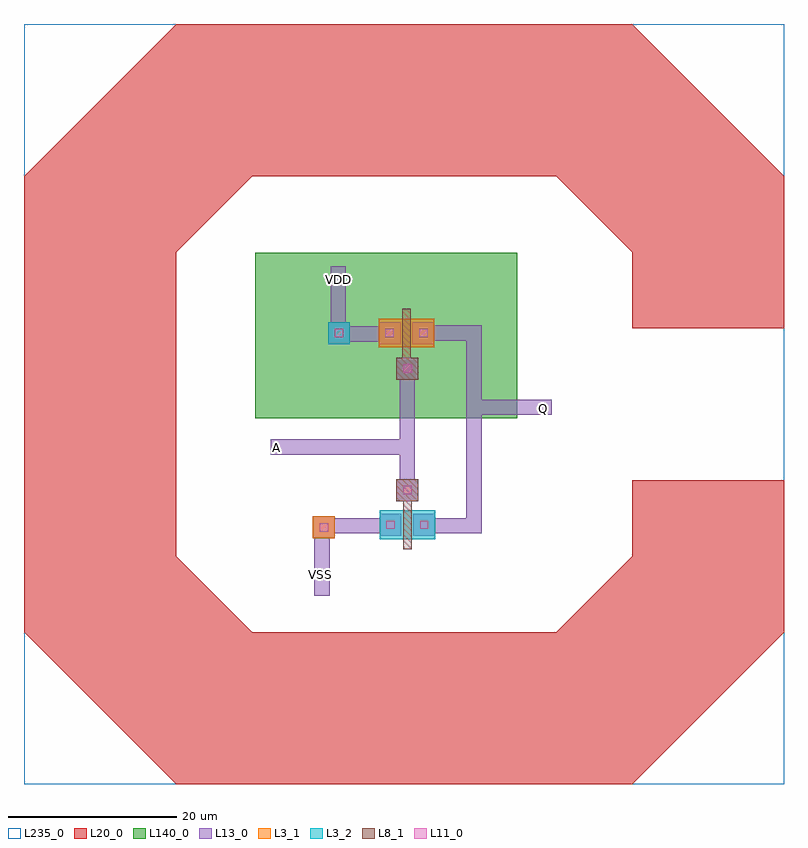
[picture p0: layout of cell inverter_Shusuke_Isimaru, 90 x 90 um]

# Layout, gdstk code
from math import pi, radians
import gdstk
lib = gdstk.Library(unit=1e-6, precision=1e-07)
def R(c, l, rs):  # rectangles x0, y0, x1, y1
    for r in rs: c.add(gdstk.rectangle(r[:2], r[2:], *l))
def P(c, l, *ps):  # polygons
    for p in ps: c.add(gdstk.Polygon(p, *l))
L3_1 = (3, 1)
L3_2 = (3, 2)
L8_1 = (8, 1)
L11_0 = (11, 0)
L13_0 = (13, 0)
L20_0 = (20, 0)
L140_0 = (140, 0)
L235_0 = (235, 0)

fet_p = lib.new_cell('fet_p')
R(fet_p, L3_1, [(-3.3,-1.7,3.3,1.7)])
R(fet_p, L11_0, [(-2.5,-0.5,-1.5,0.5), (1.5,-0.5,2.5,0.5)])
R(fet_p, L13_0, [(-3.3,-1.3,-0.7,1.3), (0.7,-1.3,3.3,1.3)])
fet_p.add(gdstk.FlexPath([(0,-2.9),(0,2.9)], 1, ends="flush", simple_path=True, layer=8, datatype=1))  # L8_1

cont_n = lib.new_cell('cont_n')
R(cont_n, L3_2, [(-1.3,-1.3,1.3,1.3)])
R(cont_n, L11_0, [(-0.5,-0.5,0.5,0.5)])
R(cont_n, L13_0, [(-1.3,-1.3,1.3,1.3)])

cont_g = lib.new_cell('cont_g')
R(cont_g, L8_1, [(-1.3,-1.3,1.3,1.3)])
R(cont_g, L11_0, [(-0.5,-0.5,0.5,0.5)])
R(cont_g, L13_0, [(-1.3,-1.3,1.3,1.3)])

fet_n = lib.new_cell('fet_n')
R(fet_n, L3_2, [(-3.3,-1.7,3.3,1.7)])
R(fet_n, L11_0, [(-2.5,-0.5,-1.5,0.5), (1.5,-0.5,2.5,0.5)])
R(fet_n, L13_0, [(-3.3,-1.3,-0.7,1.3), (0.7,-1.3,3.3,1.3)])
fet_n.add(gdstk.FlexPath([(0,-2.9),(0,2.9)], 1, ends="flush", simple_path=True, layer=8, datatype=1))  # L8_1

cont_p = lib.new_cell('cont_p')
R(cont_p, L3_1, [(-1.3,-1.3,1.3,1.3)])
R(cont_p, L11_0, [(-0.5,-0.5,0.5,0.5)])
R(cont_p, L13_0, [(-1.3,-1.3,1.3,1.3)])

c_c = lib.new_cell('C')
P(c_c, L20_0, [(6,0),(0,6),(0,24),(6,30),(24,30),(30,24),(30,18),(24,18),(24,21),(21,24),(9,24),(6,21),(6,9),(9,6),(21,6),(24,9),(24,12),(30,12),(30,6),(24,0)])
R(c_c, L235_0, [(0,0,30,30)])

inverter_shusuke_isimaru = lib.new_cell('inverter_Shusuke_Isimaru')
P(inverter_shusuke_isimaru, L3_1, [(-1.9,-2.4),(-1.9,-2.4),(-1.9,-2.4),(-1.9,-2.4)])
P(inverter_shusuke_isimaru, L140_0, [(-21.7,-10.8),(-21.7,8.8),(9.3,8.8),(9.3,4.6),(9.3,-10.8)])
inverter_shusuke_isimaru.add(gdstk.FlexPath([(-5.8,-0.8),(-11.9,-0.8),(-11.9,7.2)], 1.8, ends="flush", simple_path=True, layer=13, datatype=0))  # L13_0
inverter_shusuke_isimaru.add(gdstk.FlexPath([(-3.7,-4.9),(-3.7,-19.2)], 1.8, ends="flush", simple_path=True, layer=13, datatype=0))  # L13_0
inverter_shusuke_isimaru.add(gdstk.FlexPath([(-3.6,-14.2),(-19.9,-14.2)], 1.8, ends="flush", simple_path=True, layer=13, datatype=0))  # L13_0
inverter_shusuke_isimaru.add(gdstk.FlexPath([(-1.8,-0.7),(4.2,-0.7),(4.2,-23.5),(-1.7,-23.5)], 1.8, ends="flush", simple_path=True, layer=13, datatype=0))  # L13_0
inverter_shusuke_isimaru.add(gdstk.FlexPath([(3.8,-9.5),(13.4,-9.5)], 1.8, ends="flush", simple_path=True, layer=13, datatype=0))  # L13_0
inverter_shusuke_isimaru.add(gdstk.FlexPath([(-5.8,-23.5),(-13.8,-23.5),(-13.8,-31.8)], 1.8, ends="flush", simple_path=True, layer=13, datatype=0))  # L13_0
inverter_shusuke_isimaru.add(gdstk.Reference(fet_p, (-3.8,-0.7)))
inverter_shusuke_isimaru.add(gdstk.Reference(cont_n, (-11.8,-0.7)))
inverter_shusuke_isimaru.add(gdstk.Reference(cont_g, (-3.7,-4.9), rotation=pi/2))
inverter_shusuke_isimaru.add(gdstk.Reference(cont_g, (-3.7,-19.3), rotation=pi))
inverter_shusuke_isimaru.add(gdstk.Reference(fet_n, (-3.7,-23.4), rotation=pi))
inverter_shusuke_isimaru.add(gdstk.Reference(cont_p, (-13.6,-23.7), rotation=pi))
inverter_shusuke_isimaru.add(gdstk.Reference(c_c, (-49.1,-54.1), magnification=3))
inverter_shusuke_isimaru.add(gdstk.Label('A', (-19.2,-14.3), layer=48, texttype=0))
inverter_shusuke_isimaru.add(gdstk.Label('VDD', (-11.8,5.7), layer=48, texttype=0))
inverter_shusuke_isimaru.add(gdstk.Label('Q', (12.4,-9.6), layer=48, texttype=0))
inverter_shusuke_isimaru.add(gdstk.Label('VSS', (-14,-29.3), layer=48, texttype=0))

lib.write_gds('inverter_Shusuke_Isimaru.gds')
